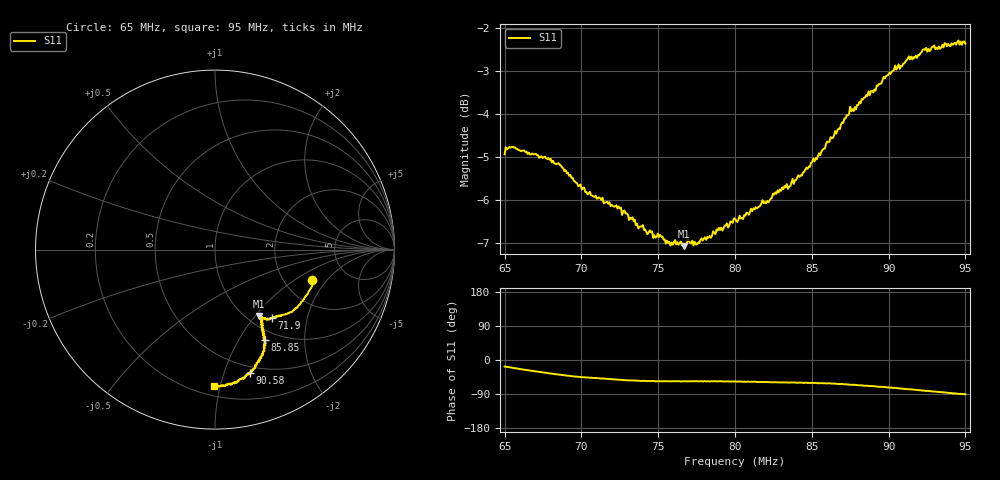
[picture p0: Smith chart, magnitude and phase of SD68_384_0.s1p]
! NanoVNA-App
! Date: 2025-08-02 15:38:22
! Start: 65MHz Stop: 95MHz Points: 401
! S-Parameter data: F S11
# Hz S RI R 50
!  Frequency  S11_Real  S11_Imag
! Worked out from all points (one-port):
!   401 points, 65 MHz to 95 MHz, reference 50 ohm
!   lowest |S11| = -7.1 dB at 76.7 MHz (marker M1), VSWR 2.59, Z = 56.8 - j52.3 ohm
!   |S11| at or under -10 dB: nowhere
!   S11 on the Smith chart (normalised r, x): 65 MHz: 2.84, -1.41; 71.9 MHz: 1.24, -1.24; 85.85 MHz: 0.86, -1.30; 90.58 MHz: 0.44, -1.22; 95 MHz: 0.26, -0.96
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6.5e7  0.5409 -0.1687
6.5525e7  0.5405 -0.2051
6.6875e7  0.4953 -0.2753
6.7925e7  0.4571 -0.3208
6.875e7  0.4218 -0.3479
6.995e7  0.3679 -0.3713
7.19e7  0.3154 -0.3793
7.25e7  0.3017 -0.3864
7.4225e7  0.2623 -0.3782
7.5125e7  0.2541 -0.3793
7.565e7  0.2486 -0.3715
7.625e7  0.2505 -0.371
7.67e7  0.2446 -0.3695
7.745e7  0.247 -0.3704
8e7  0.2642 -0.3973
8.21e7  0.2639 -0.4248
8.375e7  0.2707 -0.4562
8.585e7  0.2783 -0.5034
8.7125e7  0.2709 -0.5617
8.75e7  0.2669 -0.5854
8.7875e7  0.2611 -0.5829
8.8775e7  0.2399 -0.619
9.0575e7  0.1938 -0.6879
9.125e7  0.1684 -0.712
9.17e7  0.1481 -0.7185
9.23e7  0.1164 -0.7412
9.38e7  0.0469 -0.755
9.5e7  -0.00662 -0.7616
